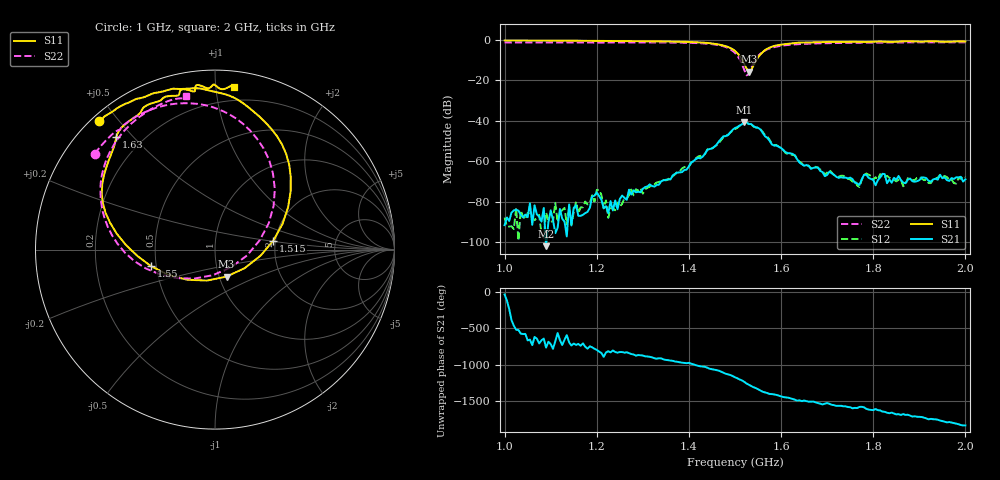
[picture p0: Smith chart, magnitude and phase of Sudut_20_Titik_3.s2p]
# Hz S RI R 50
! CMT, C1220, 16058040, 17.2.0/1
! Date: 14/08/2018 12:36:35
! Data: Format (Calibration Info)
! Freq  S11: Re/Im (F2)  S21: Re/Im (F2)  S12: Re/Im (F2)  S22: Re/Im (F2)
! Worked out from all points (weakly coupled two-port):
!   201 points, 1 GHz to 2 GHz, reference 50 ohm
!   highest |S21| = -40.51 dB at 1.52 GHz (marker M1); lowest = -101.8 dB at 1.09 GHz (marker M2)
!   lowest |S11| = -15.7 dB at 1.53 GHz (marker M3), VSWR 1.39, Z = 54.2 - j16.7 ohm
!   |S11| at or under -10 dB: 1.516 GHz to 1.546 GHz (30.71 MHz wide, 2.01 % of centre)
!   |S22| runs from -17.5 to -1.2 dB; largest |S21 - S12| = 0.00039
!   S11 on the Smith chart (normalised r, x): 1 GHz: 0.02, +0.45; 1.515 GHz: 1.95, +0.22; 1.55 GHz: 0.47, -0.10; 1.63 GHz: 0.11, +0.45; 2 GHz: 0.11, +1.12
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1e9  -0.6442 0.7154  2.12e-05 -1.63e-05  3.29e-05 2.47e-05  -0.6705 0.5342
1.09e9  -0.5554 0.7803  5.57e-06 -5.87e-06  1.81e-05 5.17e-05  -0.6189 0.5958
1.17e9  -0.4723 0.8236  4.73e-05 9.01e-06  6.88e-05 -2.64e-05  -0.5603 0.6525
1.205e9  -0.4261 0.8419  -2.78e-05 -0.000138  -0.000114 -0.000163  -0.5297 0.6676
1.215e9  -0.4156 0.8439  -7.04e-05 -6.72e-06  -2.78e-05 -6.32e-05  -0.5261 0.6749
1.255e9  -0.3453 0.8706  -4.47e-05 -0.000136  -5.01e-05 -7.37e-05  -0.488 0.7094
1.335e9  -0.2102 0.895  -0.000258 6.29e-05  -0.0003 7.29e-05  -0.3769 0.7716
1.45e9  0.1869 0.7924  0.002 0.000534  0.00208 0.000356  0.0151 0.7835
1.5e9  0.4216 0.326  -0.000639 -0.00661  -0.000577 -0.00623  0.3333 0.3385
1.515e9  0.3248 0.0498  -0.00608 -0.00546  -0.00596 -0.00568  0.2491 0.0518
1.52e9  0.2537 -0.0339  -0.00872 -0.00359  -0.00877 -0.00371  0.1785 -0.0327
1.53e9  0.0641 -0.1505  -0.0079 0.00254  -0.00794 0.00244  -0.0113 -0.1424
1.55e9  -0.356 -0.0926  -0.00123 0.00663  -0.00153 0.0066  -0.3846 -0.1056
1.63e9  -0.5499 0.6265  0.00101 -0.000975  0.00104 -0.000936  -0.6181 0.4612
1.67e9  -0.4303 0.7493  0.000248 -0.000647  0.000236 -0.000696  -0.5664 0.5791
1.77e9  -0.2302 0.8567  -0.00021 -0.000156  -0.000187 -0.00014  -0.4386 0.7257
1.785e9  -0.2014 0.8616  -0.000461 -8.86e-05  -0.000485 -0.000137  -0.4195 0.74
1.805e9  -0.1921 0.8885  -0.000256 -3.57e-05  -0.000393 0.000108  -0.3955 0.7576
1.82e9  -0.1636 0.8924  -0.00044 0.000226  -0.000397 2.25e-05  -0.3778 0.7691
1.835e9  -0.1239 0.8815  -0.000234 0.000274  -0.000309 0.000245  -0.3603 0.7801
1.865e9  -0.1067 0.9131  -0.000145 0.000263  -4.72e-05 0.000239  -0.3245 0.7993
2e9  0.1066 0.9044  0.000284 -0.000222  0.000312 -0.000267  -0.1601 0.8539
